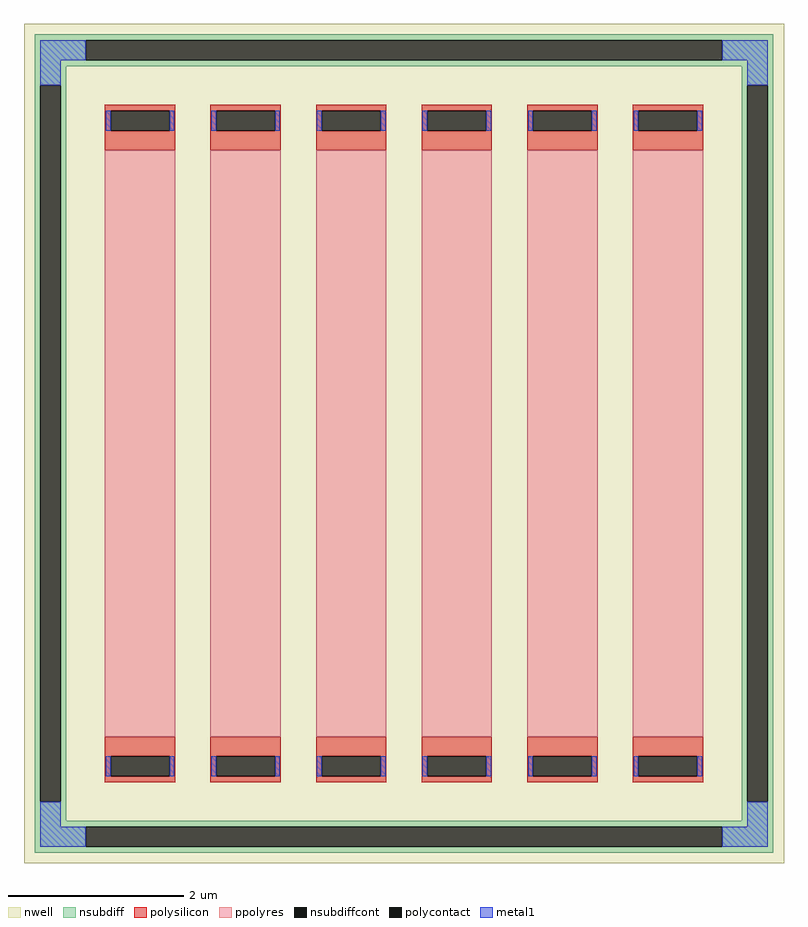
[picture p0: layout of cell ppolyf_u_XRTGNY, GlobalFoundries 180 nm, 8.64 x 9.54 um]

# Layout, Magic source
magic
tech gf180mcuC
magscale 1 10
<< nwell >>
rect -864 -954 864 954
<< nsubdiff >>
rect -840 917 840 930
rect -840 871 -724 917
rect 724 871 840 917
rect -840 858 840 871
rect -840 814 -768 858
rect -840 -814 -827 814
rect -781 -814 -768 814
rect 768 814 840 858
rect -840 -858 -768 -814
rect 768 -814 781 814
rect 827 -814 840 814
rect 768 -858 840 -814
rect -840 -871 840 -858
rect -840 -917 -724 -871
rect 724 -917 840 -871
rect -840 -930 840 -917
<< nsubdiffcont >>
rect -724 871 724 917
rect -827 -814 -781 814
rect 781 -814 827 814
rect -724 -917 724 -871
<< polysilicon >>
rect -680 757 -520 770
rect -680 711 -667 757
rect -533 711 -520 757
rect -680 667 -520 711
rect -680 -711 -520 -667
rect -680 -757 -667 -711
rect -533 -757 -520 -711
rect -680 -770 -520 -757
rect -440 757 -280 770
rect -440 711 -427 757
rect -293 711 -280 757
rect -440 667 -280 711
rect -440 -711 -280 -667
rect -440 -757 -427 -711
rect -293 -757 -280 -711
rect -440 -770 -280 -757
rect -200 757 -40 770
rect -200 711 -187 757
rect -53 711 -40 757
rect -200 667 -40 711
rect -200 -711 -40 -667
rect -200 -757 -187 -711
rect -53 -757 -40 -711
rect -200 -770 -40 -757
rect 40 757 200 770
rect 40 711 53 757
rect 187 711 200 757
rect 40 667 200 711
rect 40 -711 200 -667
rect 40 -757 53 -711
rect 187 -757 200 -711
rect 40 -770 200 -757
rect 280 757 440 770
rect 280 711 293 757
rect 427 711 440 757
rect 280 667 440 711
rect 280 -711 440 -667
rect 280 -757 293 -711
rect 427 -757 440 -711
rect 280 -770 440 -757
rect 520 757 680 770
rect 520 711 533 757
rect 667 711 680 757
rect 520 667 680 711
rect 520 -711 680 -667
rect 520 -757 533 -711
rect 667 -757 680 -711
rect 520 -770 680 -757
<< polycontact >>
rect -667 711 -533 757
rect -667 -757 -533 -711
rect -427 711 -293 757
rect -427 -757 -293 -711
rect -187 711 -53 757
rect -187 -757 -53 -711
rect 53 711 187 757
rect 53 -757 187 -711
rect 293 711 427 757
rect 293 -757 427 -711
rect 533 711 667 757
rect 533 -757 667 -711
<< ppolyres >>
rect -680 -667 -520 667
rect -440 -667 -280 667
rect -200 -667 -40 667
rect 40 -667 200 667
rect 280 -667 440 667
rect 520 -667 680 667
<< metal1 >>
rect -827 871 -724 917
rect 724 871 827 917
rect -827 814 -781 871
rect 781 814 827 871
rect -678 711 -667 757
rect -533 711 -522 757
rect -438 711 -427 757
rect -293 711 -282 757
rect -198 711 -187 757
rect -53 711 -42 757
rect 42 711 53 757
rect 187 711 198 757
rect 282 711 293 757
rect 427 711 438 757
rect 522 711 533 757
rect 667 711 678 757
rect -678 -757 -667 -711
rect -533 -757 -522 -711
rect -438 -757 -427 -711
rect -293 -757 -282 -711
rect -198 -757 -187 -711
rect -53 -757 -42 -711
rect 42 -757 53 -711
rect 187 -757 198 -711
rect 282 -757 293 -711
rect 427 -757 438 -711
rect 522 -757 533 -711
rect 667 -757 678 -711
rect -827 -871 -781 -814
rect 781 -871 827 -814
rect -827 -917 -724 -871
rect 724 -917 827 -871
<< properties >>
string FIXED_BBOX -804 -894 804 894
string gencell ppolyf_u
string library gf180mcu
string parameters w 0.8 l 6.672 m 1 nx 6 wmin 0.80 lmin 1.00 rho 315 val 2.879k dummy 0 dw 0.07 term 0.0 sterm 0.0 caplen 0.4 snake 0 glc 1 grc 1 gtc 1 gbc 1 roverlap 0 endcov 100 full_metal 1
<< end >>
